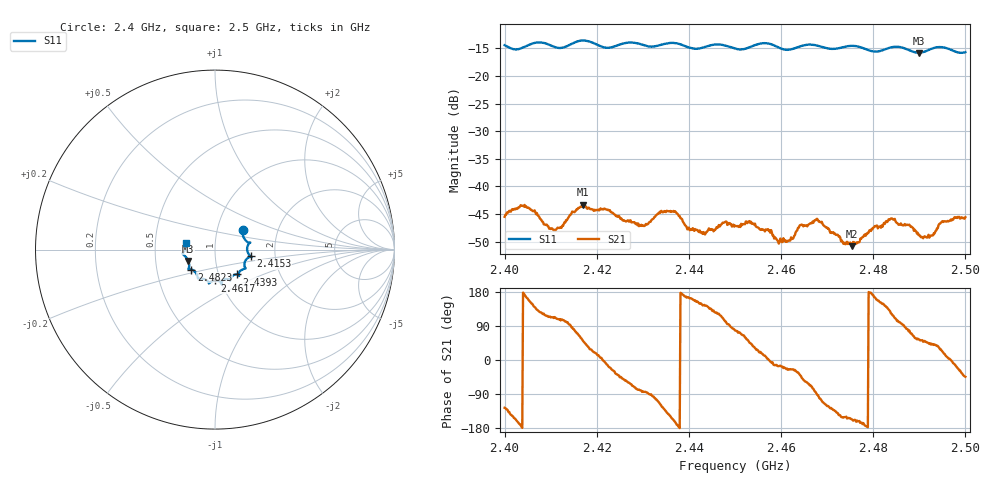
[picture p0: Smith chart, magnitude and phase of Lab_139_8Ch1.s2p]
# Hz S RI R 50
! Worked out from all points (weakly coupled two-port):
!   601 points, 2.4 GHz to 2.5 GHz, reference 50 ohm
!   highest |S21| = -43.33 dB at 2.417 GHz (marker M1); lowest = -50.8 dB at 2.4753 GHz (marker M2)
!   lowest |S11| = -15.8 dB at 2.4898 GHz (marker M3), VSWR 1.39, Z = 36.8 - j4.82 ohm
!   |S11| at or under -10 dB: start of sweep to end of sweep
!   S12 and S22 are empty: the file has one direction only
!   S11 on the Smith chart (normalised r, x): 2.4 GHz: 1.33, +0.30; 2.4153 GHz: 1.49, -0.12; 2.4393 GHz: 1.23, -0.35; 2.4617 GHz: 0.94, -0.33; 2.4823 GHz: 0.75, -0.17; 2.5 GHz: 0.72, +0.05
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2.4e9  0.1553 0.1085  -0.00314 -0.00429  0 0  0 0
2.404167e9  0.1757 0.0464  -0.00656 0.000545  0 0  0 0
2.410833e9  0.1818 0.0196  -0.00161 0.00372  0 0  0 0
2.415333e9  0.198 -0.0377  0.00148 0.00575  0 0  0 0
2.416667e9  0.2045 -0.0421  0.00357 0.00551  0 0  0 0
2.417e9  0.2048 -0.0422  0.00432 0.00528  0 0  0 0
2.429667e9  0.1596 -0.1081  0.000734 -0.00443  0 0  0 0
2.433333e9  0.1321 -0.1338  -0.0019 -0.00537  0 0  0 0
2.437e9  0.1342 -0.1457  -0.00573 -0.00163  0 0  0 0
2.439333e9  0.123 -0.1383  -0.00429 0.000942  0 0  0 0
2.443333e9  0.0883 -0.1591  -0.00309 0.00213  0 0  0 0
2.447667e9  0.0828 -0.1698  -0.00122 0.00456  0 0  0 0
2.45e9  0.066 -0.1639  0.000902 0.00433  0 0  0 0
2.453333e9  0.0368 -0.179  0.00333 0.00326  0 0  0 0
2.461667e9  0.000211 -0.1721  0.00295 -0.00133  0 0  0 0
2.466667e9  -0.0336 -0.1887  0.00159 -0.00436  0 0  0 0
2.475333e9  -0.0933 -0.162  -0.00264 -0.00114  0 0  0 0
2.482333e9  -0.1319 -0.1111  -0.00387 0.00261  0 0  0 0
2.483333e9  -0.1408 -0.1099  -0.00345 0.00366  0 0  0 0
2.489833e9  -0.1484 -0.0637  0.00211 0.00295  0 0  0 0
2.492667e9  -0.1734 -0.0301  0.00261 0.00245  0 0  0 0
2.5e9  -0.1599 0.0364  0.00376 -0.00367  0 0  0 0
